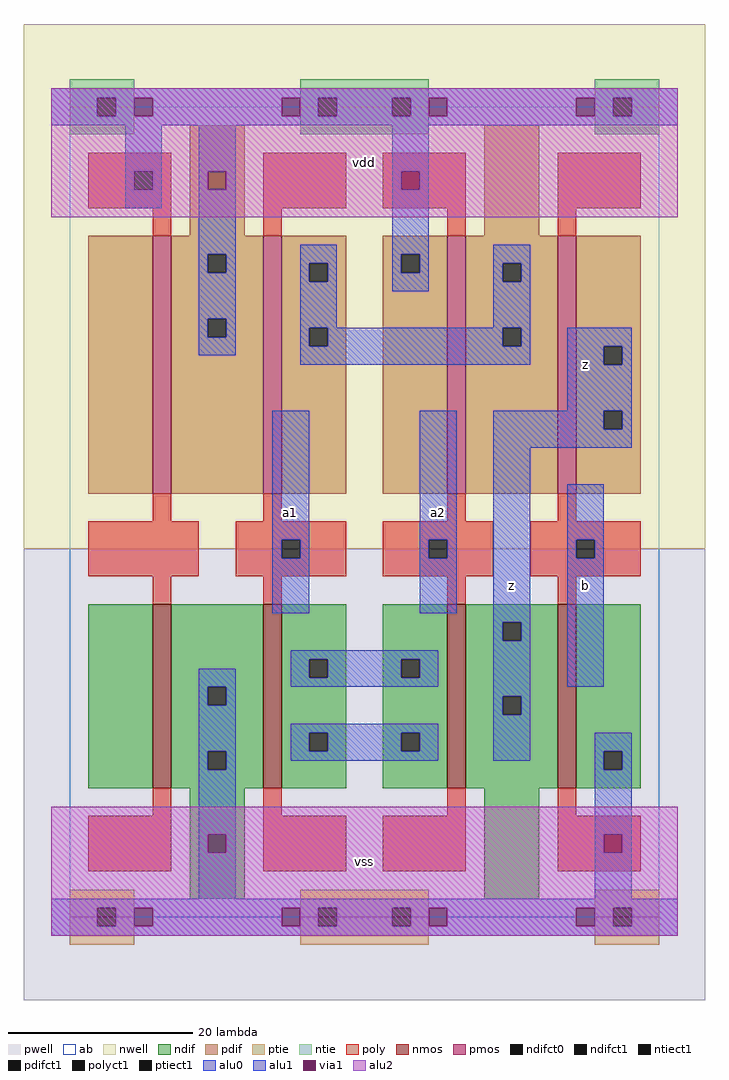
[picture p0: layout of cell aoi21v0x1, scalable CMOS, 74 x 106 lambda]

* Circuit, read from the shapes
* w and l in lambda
.subckt aoi21v0x1 a1 a2 b vdd vss z
M1 vss vdd n1 vss nfet w=20 l=2
M2 n2 a1 vss vss nfet w=20 l=2
M3 z a2 n2 vss nfet w=20 l=2
M4 vss b z vss nfet w=20 l=2
M5 vdd vdd n3 vdd pfet w=28 l=2
M6 n4 a1 vdd vdd pfet w=28 l=2
M7 n4 a2 vdd vdd pfet w=28 l=2
M8 z b n4 vdd pfet w=28 l=2
.ends

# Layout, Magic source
magic
tech scmos
<< ab >>
rect 0 0 64 88
<< nwell >>
rect -5 40 69 97
<< pwell >>
rect -5 -9 69 40
<< poly >>
rect 2 81 11 83
rect 2 79 7 81
rect 9 79 11 81
rect 2 77 11 79
rect 9 74 11 77
rect 21 77 30 83
rect 34 77 43 83
rect 21 74 23 77
rect 41 74 43 77
rect 53 77 62 83
rect 53 74 55 77
rect 9 43 11 46
rect 21 43 23 46
rect 41 43 43 46
rect 53 43 55 46
rect 2 37 14 43
rect 18 41 30 43
rect 18 39 23 41
rect 25 39 30 41
rect 18 37 30 39
rect 34 41 46 43
rect 34 39 39 41
rect 41 39 46 41
rect 34 37 46 39
rect 50 41 62 43
rect 50 39 55 41
rect 57 39 62 41
rect 50 37 62 39
rect 9 34 11 37
rect 21 34 23 37
rect 41 34 43 37
rect 53 34 55 37
rect 9 11 11 14
rect 2 5 11 11
rect 21 11 23 14
rect 41 11 43 14
rect 21 5 30 11
rect 34 5 43 11
rect 53 11 55 14
rect 53 5 62 11
<< ndif >>
rect 2 14 9 34
rect 11 25 21 34
rect 11 23 15 25
rect 17 23 21 25
rect 11 18 21 23
rect 11 16 15 18
rect 17 16 21 18
rect 11 14 21 16
rect 23 28 30 34
rect 23 26 26 28
rect 28 26 30 28
rect 23 20 30 26
rect 23 18 26 20
rect 28 18 30 20
rect 23 14 30 18
rect 34 28 41 34
rect 34 26 36 28
rect 38 26 41 28
rect 34 20 41 26
rect 34 18 36 20
rect 38 18 41 20
rect 34 14 41 18
rect 43 32 53 34
rect 43 30 47 32
rect 49 30 53 32
rect 43 24 53 30
rect 43 22 47 24
rect 49 22 53 24
rect 43 14 53 22
rect 55 18 62 34
rect 55 16 58 18
rect 60 16 62 18
rect 55 14 62 16
rect 13 2 19 14
rect 45 2 51 14
<< pdif >>
rect 13 74 19 86
rect 45 74 51 86
rect 2 46 9 74
rect 11 72 21 74
rect 11 70 15 72
rect 17 70 21 72
rect 11 65 21 70
rect 11 63 15 65
rect 17 63 21 65
rect 11 46 21 63
rect 23 71 30 74
rect 23 69 26 71
rect 28 69 30 71
rect 23 64 30 69
rect 23 62 26 64
rect 28 62 30 64
rect 23 46 30 62
rect 34 72 41 74
rect 34 70 36 72
rect 38 70 41 72
rect 34 46 41 70
rect 43 71 53 74
rect 43 69 47 71
rect 49 69 53 71
rect 43 64 53 69
rect 43 62 47 64
rect 49 62 53 64
rect 43 46 53 62
rect 55 62 62 74
rect 55 60 58 62
rect 60 60 62 62
rect 55 55 62 60
rect 55 53 58 55
rect 60 53 62 55
rect 55 46 62 53
<< alu1 >>
rect -2 89 66 90
rect -2 87 3 89
rect 5 87 7 89
rect 9 87 23 89
rect 25 87 27 89
rect 29 87 35 89
rect 37 87 39 89
rect 41 87 55 89
rect 57 87 59 89
rect 61 87 66 89
rect -2 86 66 87
rect 6 81 10 86
rect 6 79 7 81
rect 9 79 10 81
rect 6 77 10 79
rect 14 81 18 86
rect 14 79 15 81
rect 17 79 18 81
rect 14 72 18 79
rect 35 81 39 86
rect 35 79 36 81
rect 38 79 39 81
rect 14 70 15 72
rect 17 70 18 72
rect 14 65 18 70
rect 14 63 15 65
rect 17 63 18 65
rect 14 61 18 63
rect 25 71 29 73
rect 25 69 26 71
rect 28 69 29 71
rect 25 64 29 69
rect 35 72 39 79
rect 35 70 36 72
rect 38 70 39 72
rect 35 68 39 70
rect 46 71 50 73
rect 46 69 47 71
rect 49 69 50 71
rect 46 64 50 69
rect 25 62 26 64
rect 28 62 47 64
rect 49 62 50 64
rect 25 60 50 62
rect 54 62 61 64
rect 54 60 58 62
rect 60 60 61 62
rect 54 55 61 60
rect 22 41 26 55
rect 22 39 23 41
rect 25 39 26 41
rect 22 33 26 39
rect 38 41 42 55
rect 38 39 39 41
rect 41 39 42 41
rect 38 33 42 39
rect 46 53 58 55
rect 60 53 61 55
rect 46 51 61 53
rect 46 32 50 51
rect 46 30 47 32
rect 49 30 50 32
rect 14 25 18 27
rect 14 23 15 25
rect 17 23 18 25
rect 14 18 18 23
rect 46 24 50 30
rect 54 41 58 47
rect 54 39 55 41
rect 57 39 58 41
rect 54 25 58 39
rect 46 22 47 24
rect 49 22 50 24
rect 14 16 15 18
rect 17 16 18 18
rect 46 17 50 22
rect 57 18 61 20
rect 14 9 18 16
rect 14 7 15 9
rect 17 7 18 9
rect 14 2 18 7
rect 57 16 58 18
rect 60 16 61 18
rect 57 9 61 16
rect 57 7 58 9
rect 60 7 61 9
rect 57 2 61 7
rect -2 1 66 2
rect -2 -1 3 1
rect 5 -1 7 1
rect 9 -1 23 1
rect 25 -1 27 1
rect 29 -1 35 1
rect 37 -1 39 1
rect 41 -1 55 1
rect 57 -1 59 1
rect 61 -1 66 1
rect -2 -2 66 -1
<< alu2 >>
rect -2 89 66 90
rect -2 87 7 89
rect 9 87 23 89
rect 25 87 39 89
rect 41 87 55 89
rect 57 87 66 89
rect -2 81 66 87
rect -2 79 15 81
rect 17 79 36 81
rect 38 79 66 81
rect -2 76 66 79
rect -2 9 66 12
rect -2 7 15 9
rect 17 7 58 9
rect 60 7 66 9
rect -2 1 66 7
rect -2 -1 7 1
rect 9 -1 23 1
rect 25 -1 39 1
rect 41 -1 55 1
rect 57 -1 66 1
rect -2 -2 66 -1
<< ptie >>
rect 0 1 7 3
rect 0 -1 3 1
rect 5 -1 7 1
rect 0 -3 7 -1
rect 25 1 39 3
rect 25 -1 27 1
rect 29 -1 35 1
rect 37 -1 39 1
rect 25 -3 39 -1
rect 57 1 64 3
rect 57 -1 59 1
rect 61 -1 64 1
rect 57 -3 64 -1
<< ntie >>
rect 0 89 7 91
rect 0 87 3 89
rect 5 87 7 89
rect 0 85 7 87
rect 25 89 39 91
rect 25 87 27 89
rect 29 87 35 89
rect 37 87 39 89
rect 25 85 39 87
rect 57 89 64 91
rect 57 87 59 89
rect 61 87 64 89
rect 57 85 64 87
<< nmos >>
rect 9 14 11 34
rect 21 14 23 34
rect 41 14 43 34
rect 53 14 55 34
<< pmos >>
rect 9 46 11 74
rect 21 46 23 74
rect 41 46 43 74
rect 53 46 55 74
<< polyct1 >>
rect 7 79 9 81
rect 23 39 25 41
rect 39 39 41 41
rect 55 39 57 41
<< ndifct0 >>
rect 26 26 28 28
rect 26 18 28 20
rect 36 26 38 28
rect 36 18 38 20
<< ndifct1 >>
rect 15 23 17 25
rect 15 16 17 18
rect 47 30 49 32
rect 47 22 49 24
rect 58 16 60 18
<< ntiect1 >>
rect 3 87 5 89
rect 27 87 29 89
rect 35 87 37 89
rect 59 87 61 89
<< ptiect1 >>
rect 3 -1 5 1
rect 27 -1 29 1
rect 35 -1 37 1
rect 59 -1 61 1
<< pdifct1 >>
rect 15 70 17 72
rect 15 63 17 65
rect 26 69 28 71
rect 26 62 28 64
rect 36 70 38 72
rect 47 69 49 71
rect 47 62 49 64
rect 58 60 60 62
rect 58 53 60 55
<< alu0 >>
rect 24 28 40 29
rect 24 26 26 28
rect 28 26 36 28
rect 38 26 40 28
rect 24 25 40 26
rect 24 20 40 21
rect 24 18 26 20
rect 28 18 36 20
rect 38 18 40 20
rect 24 17 40 18
<< via1 >>
rect 7 87 9 89
rect 23 87 25 89
rect 39 87 41 89
rect 55 87 57 89
rect 15 79 17 81
rect 36 79 38 81
rect 15 7 17 9
rect 58 7 60 9
rect 7 -1 9 1
rect 23 -1 25 1
rect 39 -1 41 1
rect 55 -1 57 1
<< labels >>
rlabel alu1 24 44 24 44 6 a1
rlabel alu1 40 44 40 44 6 a2
rlabel alu1 48 36 48 36 6 z
rlabel alu1 56 36 56 36 6 b
rlabel alu1 56 60 56 60 6 z
rlabel alu2 32 6 32 6 6 vss
rlabel alu2 32 82 32 82 6 vdd
<< end >>
